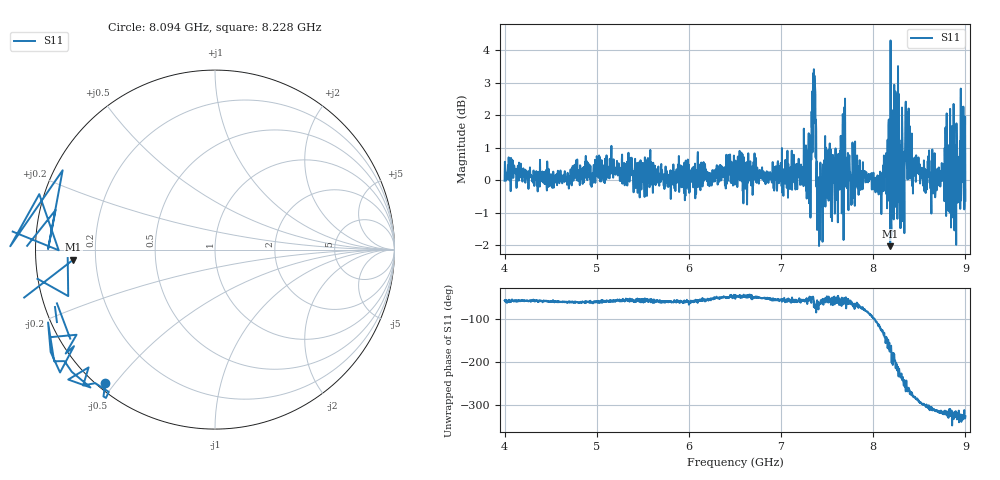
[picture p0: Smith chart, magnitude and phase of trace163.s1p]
! Created with skrf 1.8.0 (http://scikit-rf.org).
# Hz S RI R 50.0
!freq ReS11 ImS11
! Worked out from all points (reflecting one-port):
!   1601 points, 4 GHz to 9 GHz, reference 50 ohm
!   lowest |S11| = -2.0 dB at 8.184 GHz (marker M1), VSWR 8.61, Z = 5.81 - j1.76 ohm
!   phase of S11 starts at -57 deg and turns -271 deg over the sweep
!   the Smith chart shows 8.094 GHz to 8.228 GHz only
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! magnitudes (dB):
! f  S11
! 4 GHz  0.0
! 4.625 GHz  -0.1
! 5.25 GHz  0.0
! 5.875 GHz  0.1
! 6.5 GHz  0.2
! 7.125 GHz  0.4
! 7.297 GHz  1.0
! 7.356 GHz  3.4
! 7.381 GHz  1.6
! 7.4 GHz  0.1
! 7.428 GHz  0.5
! 7.503 GHz  0.4
! 7.591 GHz  1.0
! 7.669 GHz  2.0
! 7.75 GHz  0.2
! 8.069 GHz  -0.1
! 8.162 GHz  -0.5
! 8.184 GHz  -2.0
! 8.228 GHz  2.9
! 8.253 GHz  0.7
! 8.312 GHz  2.2
! 8.334 GHz  0.1
! 8.375 GHz  0.4
! 8.425 GHz  0.2
! 8.556 GHz  -0.3
! 8.919 GHz  -0.6
! 8.959 GHz  2.3
! 9 GHz  -0.6
